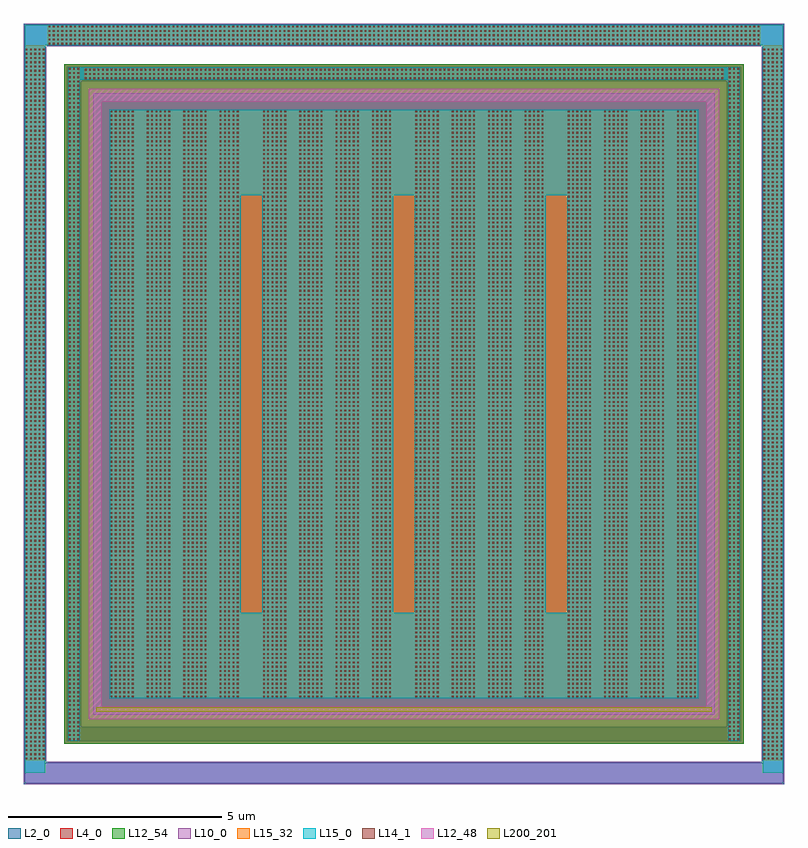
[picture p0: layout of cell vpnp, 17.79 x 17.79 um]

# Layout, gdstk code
import gdstk
lib = gdstk.Library(unit=1e-6, precision=1e-09)
def R(c, l, rs):  # rectangles x0, y0, x1, y1
    for r in rs: c.add(gdstk.rectangle(r[:2], r[2:], *l))
def A(c, l, x, y, w, h, nx, ny, dx, dy):  # array of equal rectangles
    R(c, l, [(x+i*dx, y+j*dy, x+i*dx+w, y+j*dy+h) for i in range(nx) for j in range(ny)])
L2_0 = (2, 0)
L4_0 = (4, 0)
L10_0 = (10, 0)
L12_48 = (12, 48)
L12_54 = (12, 54)
L14_1 = (14, 1)
L15_0 = (15, 0)
L15_32 = (15, 32)
L200_201 = (200, 201)

vpnp = lib.new_cell('vpnp')
R(vpnp, L2_0, [(-15.379,-7.409,2.373,-6.929), (-15.379,-6.929,-14.899,9.863), (1.893,-6.929,2.373,9.863), (-14.399,-6.429,1.393,-6.089), (-14.399,-6.089,-14.059,9.023), (1.053,-6.089,1.393,9.023), (-13.703,-5.733,0.697,8.667), (-14.399,9.023,1.393,9.363), (-15.379,9.863,2.373,10.343)])
R(vpnp, L4_0, [(-14.455,-6.485,1.449,9.419)])
R(vpnp, L10_0, [(-15.4,-7.43,2.394,-6.908), (-15.4,-6.908,-14.878,9.842), (1.872,-6.908,2.394,9.842), (-13.773,-5.803,0.767,8.737), (-15.4,9.842,2.394,10.364)])
R(vpnp, L12_48, [(-13.884,-5.914,0.878,-5.608), (-13.884,-5.608,-13.578,8.542), (0.572,-5.608,0.878,8.542), (-13.884,8.542,0.878,8.848)])
R(vpnp, L12_54, [(-14.455,-6.485,1.449,9.419)])
A(vpnp, L14_1, -15.359, -6.853, 0.04, 0.04, 5, 167, 0.1, 0.1)
A(vpnp, L14_1, 1.913, -6.853, 0.04, 0.04, 5, 167, 0.1, 0.1)
A(vpnp, L14_1, -14.349, -6.403, 0.04, 0.04, 3, 158, 0.1, 0.1)
A(vpnp, L14_1, 1.103, -6.403, 0.04, 0.04, 3, 158, 0.1, 0.1)
A(vpnp, L14_1, -13.373, -5.403, 0.04, 0.04, 6, 138, 0.1, 0.1)
A(vpnp, L14_1, -12.521, -5.403, 0.04, 0.04, 6, 138, 0.1, 0.1)
A(vpnp, L14_1, -11.669, -5.403, 0.04, 0.04, 6, 138, 0.1, 0.1)
A(vpnp, L14_1, -10.817, -5.403, 0.04, 0.04, 5, 138, 0.1, 0.1)
A(vpnp, L14_1, -9.804, -5.403, 0.04, 0.04, 6, 138, 0.1, 0.1)
A(vpnp, L14_1, -8.952, -5.403, 0.04, 0.04, 6, 138, 0.1, 0.1)
A(vpnp, L14_1, -8.1, -5.403, 0.04, 0.04, 6, 138, 0.1, 0.1)
A(vpnp, L14_1, -7.248, -5.403, 0.04, 0.04, 5, 138, 0.1, 0.1)
A(vpnp, L14_1, -6.235, -5.403, 0.04, 0.04, 6, 138, 0.1, 0.1)
A(vpnp, L14_1, -5.383, -5.403, 0.04, 0.04, 6, 138, 0.1, 0.1)
A(vpnp, L14_1, -4.531, -5.403, 0.04, 0.04, 6, 138, 0.1, 0.1)
A(vpnp, L14_1, -3.679, -5.403, 0.04, 0.04, 5, 138, 0.1, 0.1)
A(vpnp, L14_1, -2.666, -5.403, 0.04, 0.04, 6, 138, 0.1, 0.1)
A(vpnp, L14_1, -1.814, -5.403, 0.04, 0.04, 6, 138, 0.1, 0.1)
A(vpnp, L14_1, -0.962, -5.403, 0.04, 0.04, 6, 138, 0.1, 0.1)
A(vpnp, L14_1, -0.11, -5.403, 0.04, 0.04, 5, 138, 0.1, 0.1)
A(vpnp, L14_1, -13.973, 9.073, 0.04, 0.04, 150, 3, 0.1, 0.1)
A(vpnp, L14_1, -14.823, 9.883, 0.04, 0.04, 167, 5, 0.1, 0.1)
A(vpnp, L15_0, -13.391, -3.421, 3.069, 9.776, 4, 1, 3.569, 0)
R(vpnp, L15_0, [(-15.377,-7.169,-14.901,10.341), (1.895,-7.169,2.371,10.341), (-14.367,-6.421,-14.091,9.355), (1.085,-6.421,1.361,9.355), (-13.391,-5.421,0.385,-3.421), (-13.391,6.355,0.385,8.355), (-14.091,9.055,1.085,9.355), (-14.901,9.865,1.895,10.341)])
R(vpnp, L15_32, [(-15.377,-6.871,-14.901,9.865), (1.895,-6.871,2.371,9.865), (-14.367,-6.421,-14.091,9.355), (1.085,-6.421,1.361,9.355), (-13.391,-5.421,0.385,8.355), (-13.991,9.055,0.985,9.331), (-14.841,9.865,1.835,10.341)])
R(vpnp, L200_201, [(-13.703,-5.733,0.697,-5.633)])

lib.write_gds('vpnp.gds')
